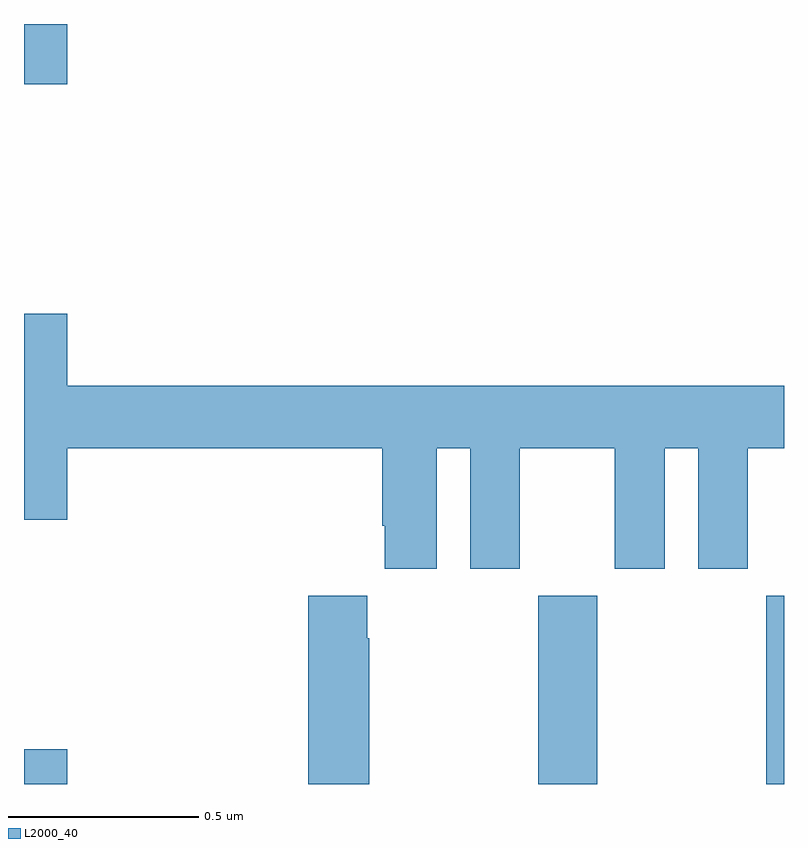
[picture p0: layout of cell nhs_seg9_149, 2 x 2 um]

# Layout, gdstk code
import gdstk
lib = gdstk.Library(unit=1e-6, precision=1e-09)
def R(c, l, rs):  # rectangles x0, y0, x1, y1
    for r in rs: c.add(gdstk.rectangle(r[:2], r[2:], *l))
def P(c, l, *ps):  # polygons
    for p in ps: c.add(gdstk.Polygon(p, *l))
L2000_40 = (2000, 40)

nhs_seg9_149 = lib.new_cell('nhs_seg9_149')
R(nhs_seg9_149, L2000_40, [(112,1231.5,112.114,1231.591), (113.353,1231.5,113.508,1231.996), (113.953,1231.5,114,1231.996), (112,1233.342,112.114,1233.5)])
P(nhs_seg9_149, L2000_40, [(113.086,1232.384),(113.174,1232.384),(113.174,1232.067),(113.305,1232.067),(113.305,1232.384),(113.555,1232.384),(113.555,1232.067),(113.686,1232.067),(113.686,1232.384),(113.774,1232.384),(113.774,1232.067),(113.905,1232.067),(113.905,1232.384),(114,1232.384),(114,1232.548),(112.114,1232.548),(112.114,1232.737),(112,1232.737),(112,1232.196),(112.114,1232.196),(112.114,1232.384),(112.943,1232.384),(112.943,1232.179),(112.949,1232.179),(112.949,1232.067),(113.086,1232.067)],
  [(112.908,1231.883),(112.903,1231.883),(112.903,1231.996),(112.748,1231.996),(112.748,1231.5),(112.908,1231.5)])

lib.write_gds('nhs_seg9_149.gds')
